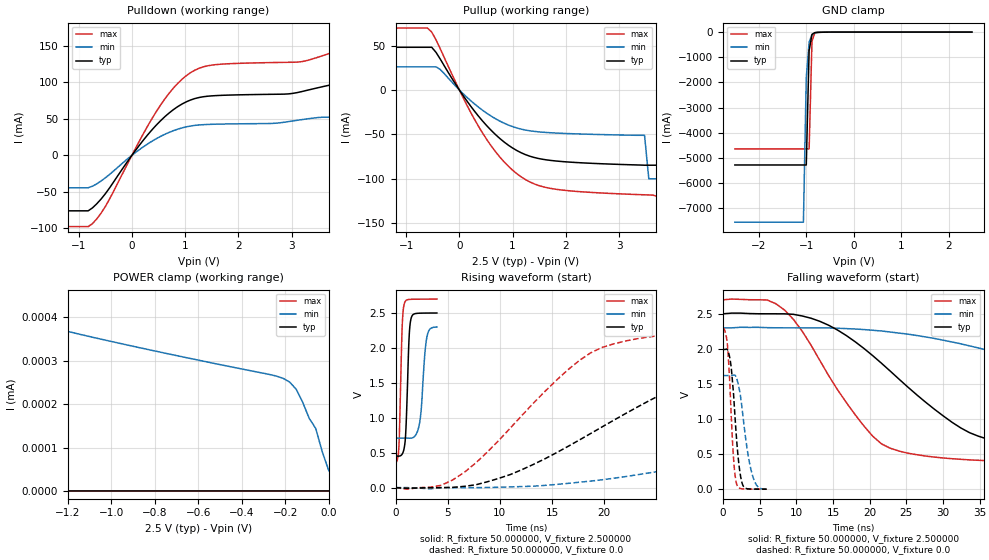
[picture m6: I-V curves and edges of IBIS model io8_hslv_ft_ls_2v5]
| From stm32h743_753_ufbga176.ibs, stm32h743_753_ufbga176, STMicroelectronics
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|   Model io8_hslv_ft_ls_2v5
[Model]  io8_hslv_ft_ls_2v5
Model_type I/O
Polarity   Non-Inverting
Enable   Active-Low
Vinl =   0.750000V
Vinh =   1.750000V
Vmeas =  1.250000V
Cref =   30.000000pF
Rref =   100.000000M
Vref =   0.0V
C_comp   3.274600pF   3.232100pF   3.359900pF
[Temperature Range]   25.000000   0.140000k   -40.000000
[Pullup Reference]   2.500000V   2.300000V   2.700000V
[Pulldown Reference]   0.0V   0.0V   0.0V
[POWER Clamp Reference]   2.500000V   2.300000V   2.700000V
[GND Clamp Reference]   0.0V   0.0V   0.0V
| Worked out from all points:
|   slope of the pulldown table from 0 to 0.375 V, typ, clamps not added: 10.8 ohm
|   slope of the pullup table from 0 to 0.375 V, typ, clamps not added: 12.2 ohm
|   GND clamp passes 1 mA (typ) near -0.48 V on its own axis
|   POWER clamp passes 1 mA (typ) near -1.63 V on its own axis
|   rising waveform, R_fixture 50.000000, V_fixture 2.500000: 20-80 % time 278ps typ, 448ps min, 239ps max; typ from 0.452 V to 2.5 V
|   rising waveform, R_fixture 50.000000, V_fixture 0.0: 20-80 % time 15.1ns typ, 32.8ns min, 9.33ns max; typ from 0 V to 1.99 V
|   falling waveform, R_fixture 50.000000, V_fixture 2.500000: 20-80 % time 14.5ns typ, 31.3ns min, 8.93ns max; typ from 2.5 V to 0.452 V
|   falling waveform, R_fixture 50.000000, V_fixture 0.0: 20-80 % time 879ps typ, 1.29ns min, 676ps max; typ from 1.99 V to 0 V
[Pulldown]
|Voltage   I(typ)   I(min)   I(max)
-2.5V     -76.13mA   -44.49mA   -97.78mA
-740mV    -72.06mA   -42.35mA   -93.72mA
-500mV    -52.82mA   -30.92mA   -70.42mA
540mV     47.57mA    26.06mA    69.15mA
860mV     66.79mA    35.88mA    98.68mA
1.18V     77.88mA    41.1mA     116.8mA
1.66V     82.29mA    42.91mA    125mA
3.18V     87.31mA    48.91mA    128.5mA
4.54V     100.4mA    52.34mA    154mA
4.62V     100.4mA    100mA      154mA
4.7V      1A         100mA      1A
5V        1A         100mA      1A
[Pullup]
|Voltage   I(typ)   I(min)   I(max)
-2.5V     48.12mA    26.12mA    69.81mA
-600mV    48.12mA    26.12mA    69.81mA
-360mV    34.92mA    23.12mA    46.54mA
520mV     -40.59mA   -26.38mA   -56.24mA
920mV     -62.13mA   -39.43mA   -85.82mA
1.32V     -74.49mA   -45.9mA    -103.5mA
3.48V     -84.7mA    -51mA      -118mA
3.56V     -84.7mA    -100mA     -118.2mA
4.12V     -84.7mA    -100mA     -120mA
4.2V      -1A        -100mA     -120mA
4.28V     -1A        -100mA     -1A
4.92V     -10A       -100mA     -1A
[GND_clamp]
|Voltage   I(typ)   I(min)   I(max)
-2.5V     -5.279A    -7.552A    -4.642A
-1.06V    -5.279A    -7.552A    -4.642A
-1V       -5.279A    -1.817A    -4.642A
-940mV    -735.7mA   -404.3mA   -4.642A
-880mV    -96.28mA   -90.31mA   -359.2mA
-820mV    -21.89mA   -25.86mA   -35.11mA
-760mV    -11.09mA   -11.62mA   -13.1mA
2.48V     0A         -29.27nA   0A
[POWER_clamp]
|Voltage   I(typ)   I(min)   I(max)
-2.49V    6.662A     4.852A     4.793A
-1.44V    533.3nA    628.7nA    138.4uA
-1.41V    168.3nA    492.4nA    31.1uA
-1.38V    54.7nA     431.7nA    6.987uA
-1.35V    19.31nA    403.5nA    1.57uA
-1.32V    8.253nA    389.3nA    353.2nA
-1.29V    0A         381.1nA    79.72nA
-1.26V    0A         375.6nA    18.28nA
-1.23V    0A         371.2nA    0A
-210mV    0A         259.3nA    0A
-60mV     0A         144nA      0A
0V        0A         46.85nA    0A
[Ramp]
| variable   typ   min   max
dV/dt_r  1.19460/15.06694n   0.94932/32.72976n   1.37472/9.30054n
dV/dt_f  1.22641/14.43307n   0.91568/31.31145n   1.40983/8.90008n
R_load = 50.000000
[Rising Waveform]
R_fixture= 50.000000
V_fixture= 2.500000
V_fixture_min= 2.300000
V_fixture_max= 2.700000
|time   V(typ)   V(min)   V(max)
0s        451.9mV    709.2mV    353.5mV
320.3ps   450.5mV    709.2mV    571.8mV
640.6ps   479.8mV    709.3mV    2.321V
840.8ps   575.2mV    709.3mV    2.635V
1.001ns   853.8mV    709mV      2.679V
1.321ns   2.208V     707.4mV    2.694V
1.481ns   2.417V     708.5mV    2.696V
2.322ns   2.497V     939.3mV    2.698V
3.083ns   2.499V     2.206V     2.699V
3.964ns   2.5V       2.3V       2.7V
[Rising Waveform]
R_fixture= 50.000000
V_fixture= 0.0
V_fixture_min= 0.0
V_fixture_max= 0.0
|time   V(typ)   V(min)   V(max)
0s        -14.51uV   561.1nV    339.7uV
5.506ns   3.393mV    -335.2uV   111.8mV
11.01ns   187.6mV    10.04mV    854.3mV
17.62ns   681.6mV    76.57mV    1.82V
24.22ns   1.238V     208.4mV    2.156V
30.83ns   1.675V     387.4mV    2.238V
41.84ns   1.891V     736mV      2.28V
58.36ns   1.965V     1.23V      2.293V
69.37ns   1.981V     1.43V      2.295V
109ns     1.992V     1.62V      2.296V
[Falling Waveform]
R_fixture= 50.000000
V_fixture= 2.500000
V_fixture_min= 2.300000
V_fixture_max= 2.700000
|time   V(typ)   V(min)   V(max)
0s        2.5V       2.3V       2.7V
6.006ns   2.5V       2.303V     2.697V
8.408ns   2.499V     2.3V       2.552V
13.21ns   2.392V     2.3V       1.833V
19.22ns   2.006V     2.275V     899.9mV
25.23ns   1.454V     2.21V      512.2mV
33.63ns   804.7mV    2.043V     417.3mV
43.24ns   596.1mV    1.771V     381.8mV
72.07ns   477.9mV    947.9mV    356.8mV
118.9ns   451.9mV    709.2mV    353.5mV
[Falling Waveform]
R_fixture= 50.000000
V_fixture= 0.0
V_fixture_min= 0.0
V_fixture_max= 0.0
|time   V(typ)   V(min)   V(max)
0s        1.992V     1.62V      2.296V
600.6ps   1.989V     1.62V      2.055V
1.021ns   1.81V      1.619V     1.278V
1.441ns   1.345V     1.628V     430.1mV
1.862ns   693.6mV    1.576V     70.65mV
2.222ns   306.4mV    1.424V     15.92mV
2.583ns   92.38mV    1.164V     4.865mV
3.363ns   5.069mV    523.7mV    1.525mV
4.024ns   1.245mV    193.8mV    966.3uV
5.946ns   -14.51uV   561.1nV    339.7uV
